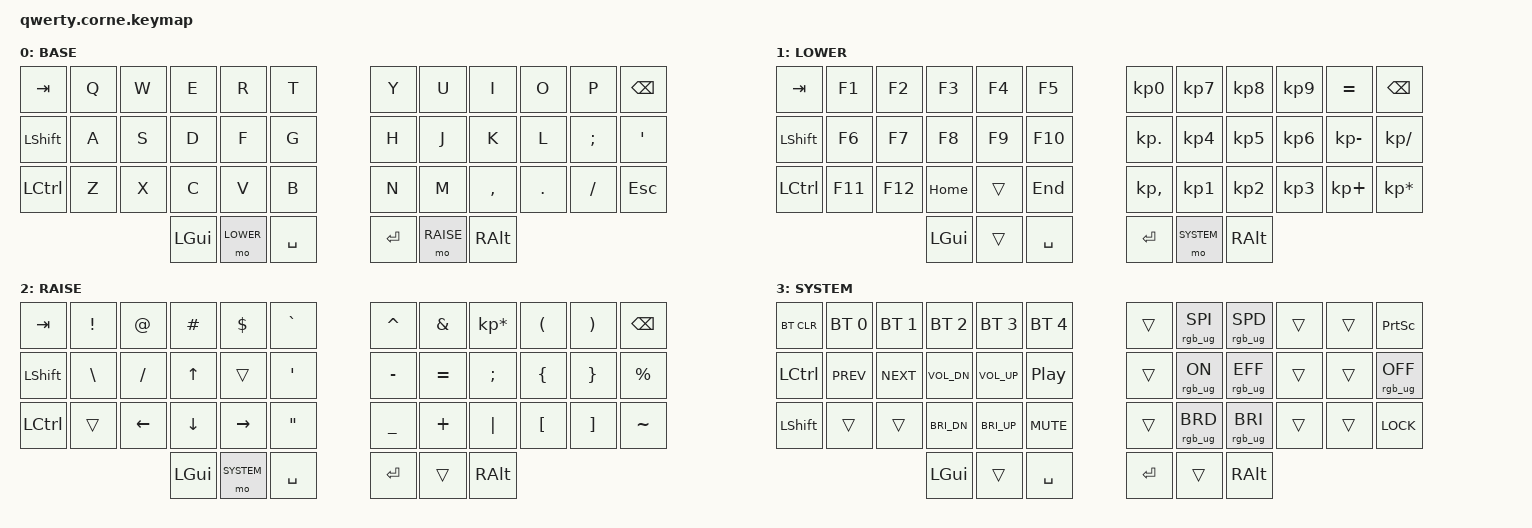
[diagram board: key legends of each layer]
#include <behaviors.dtsi>
#include <dt-bindings/zmk/keys.h>
#include <dt-bindings/zmk/bt.h>
#include <dt-bindings/zmk/ext_power.h>
#include <dt-bindings/zmk/rgb.h>

#define DEFAULT  0
#define LOWER    1
#define RAISE    2
#define SYSTEM   3

&led_strip {
    chain-length = <27>;
    // 21 backlight + 6 glowlight
};

/ {
        keymap {
                compatible = "zmk,keymap";

                default_layer {
                        label = "BASE";
                                // -----------------------------------------------------------------------------------------
                                // | TAB  |  Q  |  W  |  E  |  R  |  T  | _________ |  Y  |  U   |  I  |  O  |  P  | BKSP |
                                // | SHFT |  A  |  S  |  D  |  F  |  G  | _________ |  H  |  J   |  K  |  L  |  ;  |  '   |
                                // | CTRL |  Z  |  X  |  C  |  V  |  B  | _________ |  N  |  M   |  ,  |  .  |  /  | ESC  |
                                //                    | GUI | LWR | SPC | _________ | ENT | RSE  | ALT |

                        bindings = <
                                &kp TAB    &kp Q   &kp W     &kp E      &kp R &kp T         &kp Y    &kp U      &kp I      &kp O    &kp P     &kp BSPC
                                &kp LSHFT  &kp A   &kp S     &kp D      &kp F &kp G         &kp H    &kp J      &kp K      &kp L    &kp SEMI  &kp SQT
                                &kp LCTRL  &kp Z   &kp X     &kp C      &kp V &kp B         &kp N    &kp M      &kp COMMA  &kp DOT  &kp FSLH  &kp ESC
                                                   &kp LGUI  &mo LOWER  &kp SPACE           &kp RET  &mo RAISE  &kp RALT
                        >;
                };

                lower_layer {
                        label = "LOWER";
                                // -----------------------------------------------------------------------------------------
                                // | TAB  |  1  |  2  |  3  |  4  |  5  | _________ |  6   |  7   |  8    |  9     |  0    | BKSP |
                                // | SHFT |     |     |     |     |     | _________ | LEFT | DOWN |  UP   | RIGHT  |       |      |
                                // | CTRL | F1  | F2  | F3  | F4  | F5  | _________ | F6   | F7   |  F8   | F9     |  F10  | F11  |
                                //                    | GUI |     | SPC | _________ | ENT  | SYS  |  RALT |
 
                        bindings = <
                                &kp TAB    &kp F1  &kp F2    &kp F3    &kp F4  &kp F5              &kp KP_N0   &kp KP_N7      &kp KP_N8   &kp KP_N9   &kp EQUAL  &kp BSPC
                                &kp LSHFT  &kp F6  &kp F7    &kp F8    &kp F9  &kp F10             &kp KP_DOT   &kp KP_N4      &kp KP_N5   &kp KP_N6   &kp KP_MINUS  &kp KP_DIVIDE
                                &kp LCTRL  &kp F11 &kp F12   &kp HOME  &trans  &kp END             &kp KP_COMMA    &kp KP_N1      &kp KP_N2   &kp KP_N3   &kp KP_PLUS   &kp KP_MULTIPLY
                                                             &kp LGUI  &trans  &kp SPACE           &kp RET   &mo SYSTEM  &kp RALT
                        >;
                };

                raise_layer {
                        label = "RAISE";
                                // -----------------------------------------------------------------------------------------
                                // |  TAB |  !  |  @  |  #  |  $  |  %  | _________ |  ^  |  &  |  *  |  (  |  )  | BKSP |
                                // | SHFT |     |     |     |     |     | _________ |  -  |  =  |  [  |  ]  |  \  |  `   |
                                // | CTRL |     |     |     |     |     | _________ |  _  |  +  |  {  |  }  | "|" |  ~   |
                                //                    | GUI |     | SPC | _________ | ENT |     | ALT |
                        bindings = <
                                &kp  TAB  &kp EXCL &kp AT     &kp HASH   &kp DLLR    &kp GRAVE           &kp CARET &kp AMPS  &kp KP_MULTIPLY &kp LPAR  &kp RPAR  &kp BSPC
                                &kp LSHFT &kp BSLH &kp FSLH   &kp UP     &trans      &kp SQT             &kp MINUS &kp EQUAL &kp SEMI        &kp LBRC  &kp RBRC  &kp PRCNT
                                &kp LCTRL &trans   &kp LEFT   &kp DOWN   &kp RIGHT   &kp DQT             &kp UNDER &kp PLUS  &kp PIPE        &kp LBKT  &kp RBKT  &kp TILDE
                                                              &kp LGUI   &mo SYSTEM      &kp SPACE           &kp RET   &trans    &kp RALT
                        >;
                };

                system_layer {
                        label = "SYSTEM";
                                // -----------------------------------------------------------------------------------------
                                // | BTCLR| BT1  | BT2  | BT3   | BT4   | BT5        | _________ |     |     |     |     |     |   |
                                // | CTRL | Prev | Next | Vol - | Vol + | Play/Pause | _________ |     |     |     |     |     |    |
                                // | SHFT |      |      | C_BRI_DN | C_BRI_UP | MUTE       | _________ |     |     | RGB_INC | RGB_DOWN | RGB_ON |  RGB_OFF   |
                                //                      | GUI   |       | SPC        | _________ | ENT |  EP_ON  | EP_OFF |
                        bindings = <
                                &bt BT_CLR  &bt BT_SEL 0  &bt BT_SEL 1  &bt BT_SEL 2   &bt BT_SEL 3  &bt BT_SEL 4               &trans   &rgb_ug RGB_SPI &rgb_ug RGB_SPD  &trans  &trans &kp PSCRN
                                &kp LCTRL   &kp C_PREV    &kp C_NEXT    &kp C_VOL_DN   &kp C_VOL_UP  &kp C_PP                   &trans   &rgb_ug RGB_ON  &rgb_ug RGB_EFF  &trans  &trans &rgb_ug RGB_OFF 
                                &kp LSHFT   &trans        &trans        &kp C_BRI_DN   &kp C_BRI_UP  &kp C_MUTE                 &trans   &rgb_ug RGB_BRD &rgb_ug RGB_BRI  &trans  &trans &kp K_LOCK    
                                                                        &kp LGUI       &trans        &kp SPACE                  &kp RET  &trans  &kp RALT
                        >;
                };
        };
};
